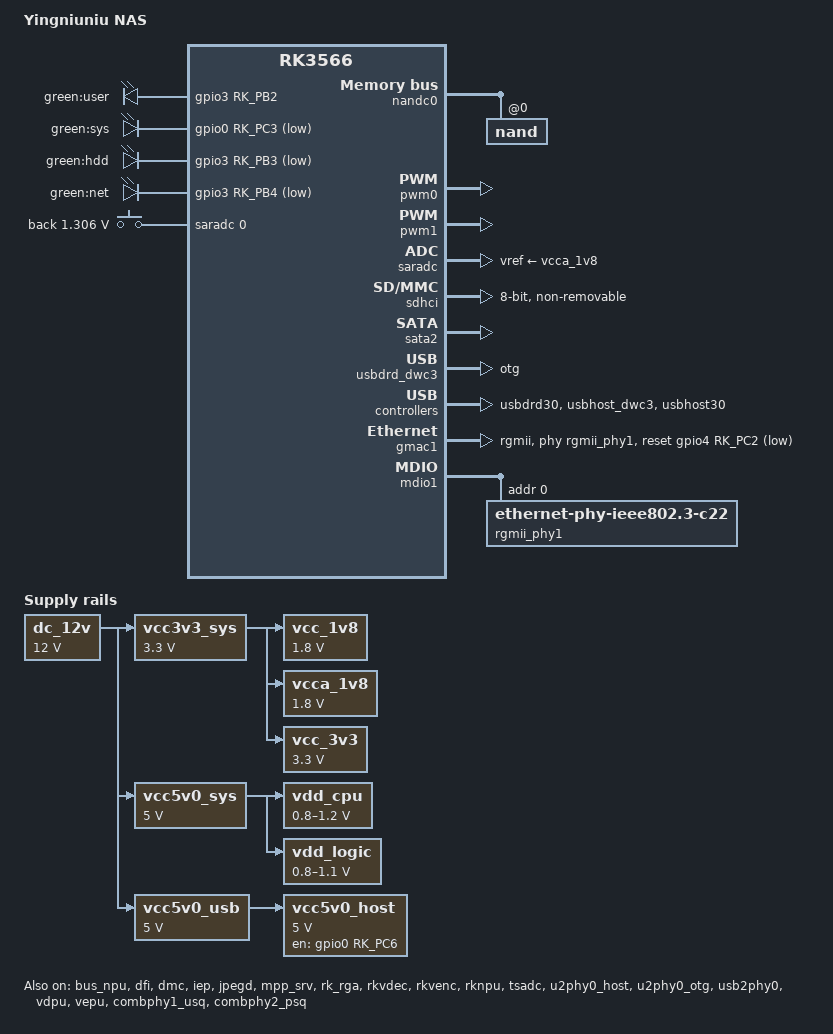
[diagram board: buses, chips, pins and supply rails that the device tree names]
/dts-v1/;

#include <dt-bindings/gpio/gpio.h>
#include <dt-bindings/pinctrl/rockchip.h>
#include <dt-bindings/pwm/pwm.h>
#include <dt-bindings/input/rk-input.h>
#include <dt-bindings/sensor-dev.h>
#include "rk3566.dtsi"

/ {
    model = "Yingniuniu NAS";
    compatible = "ynn,nas", "rockchip,rk3566";

    aliases {
        led-boot = &sys_led;
        led-failsafe = &sys_led;
        led-running = &sys_led;
        led-upgrade = &sys_led;
    };

    chosen: chosen {
        bootargs = "earlycon=uart8250,mmio32,0xfe660000 console=ttyFIQ0 root=PARTUUID=614e0000-0000 rw rootwait";
    };

    fiq-debugger {
        compatible = "rockchip,fiq-debugger";
        rockchip,serial-id = <2>;
        rockchip,wake-irq = <0>;
        /* If enable uart uses irq instead of fiq */
        rockchip,irq-mode-enable = <1>;
        rockchip,baudrate = <1500000>;  /* Only 115200 and 1500000 */
        interrupts = <GIC_SPI 252 IRQ_TYPE_LEVEL_LOW>;
        pinctrl-names = "default";
        pinctrl-0 = <&uart2m0_xfer>;
        status = "okay";
    };

    debug: debug@fd904000 {
        compatible = "rockchip,debug";
        reg = <0x0 0xfd904000 0x0 0x1000>,
            <0x0 0xfd905000 0x0 0x1000>,
            <0x0 0xfd906000 0x0 0x1000>,
            <0x0 0xfd907000 0x0 0x1000>;
    };

    cspmu: cspmu@fd90c000 {
        compatible = "rockchip,cspmu";
        reg = <0x0 0xfd90c000 0x0 0x1000>,
            <0x0 0xfd90d000 0x0 0x1000>,
            <0x0 0xfd90e000 0x0 0x1000>,
            <0x0 0xfd90f000 0x0 0x1000>;
    };

    dc_12v: dc-12v {
        compatible = "regulator-fixed";
        regulator-name = "dc_12v";
        regulator-always-on;
        regulator-boot-on;
        regulator-min-microvolt = <12000000>;
        regulator-max-microvolt = <12000000>;
    };

    vcc3v3_sys: vcc3v3-sys {
        compatible = "regulator-fixed";
        regulator-name = "vcc3v3_sys";
        regulator-always-on;
        regulator-boot-on;
        regulator-min-microvolt = <3300000>;
        regulator-max-microvolt = <3300000>;
        vin-supply = <&dc_12v>;
    };

    vcc5v0_sys: vcc5v0-sys {
        compatible = "regulator-fixed";
        regulator-name = "vcc5v0_sys";
        regulator-always-on;
        regulator-boot-on;
        regulator-min-microvolt = <5000000>;
        regulator-max-microvolt = <5000000>;
        vin-supply = <&dc_12v>;
    };

    vdd_cpu: vdd-cpu {
        compatible = "pwm-regulator";
        pwms = <&pwm0 0 5000 1>;
        regulator-name = "vdd_cpu";
        regulator-min-microvolt = <800000>;
        regulator-max-microvolt = <1200000>;
        regulator-init-microvolt =  <950000>;
        regulator-always-on;
        regulator-boot-on;
        regulator-ramp-delay = <6001>;
        regulator-settling-time-up-us = <250>;
        pwm-supply = <&vcc5v0_sys>;
        status = "okay";
    };

    vdd_logic: vdd-logic {
        compatible = "pwm-regulator";
        pwms = <&pwm1 0 5000 1>;
        regulator-name = "vdd_logic";
        regulator-min-microvolt = <800000>;
        regulator-max-microvolt = <1100000>;
        regulator-init-microvolt = <950000>;
        regulator-always-on;
        regulator-boot-on;
        regulator-ramp-delay = <6001>;
        regulator-settling-time-up-us = <250>;
        pwm-supply = <&vcc5v0_sys>;
        status = "okay";
    };

    vcc_1v8: vcc-1v8 {
        compatible = "regulator-fixed";
        regulator-name = "vcc_1v8";
        regulator-always-on;
        regulator-boot-on;
        regulator-min-microvolt = <1800000>;
        regulator-max-microvolt = <1800000>;
        vin-supply = <&vcc3v3_sys>;
    };

    vcca_1v8: vcca-1v8 {
        compatible = "regulator-fixed";
        regulator-name = "vcca_1v8";
        regulator-always-on;
        regulator-boot-on;
        regulator-min-microvolt = <1800000>;
        regulator-max-microvolt = <1800000>;
        vin-supply = <&vcc3v3_sys>;
    };

    vcc_3v3: vcc-3v3 {
        compatible = "regulator-fixed";
        regulator-name = "vcc_3v3";
        regulator-always-on;
        regulator-boot-on;
        regulator-min-microvolt = <3300000>;
        regulator-max-microvolt = <3300000>;
        vin-supply = <&vcc3v3_sys>;
    };

    vcc5v0_usb: vcc5v0-usb {
        compatible = "regulator-fixed";
        regulator-name = "vcc5v0_usb";
        regulator-always-on;
        regulator-boot-on;
        regulator-min-microvolt = <5000000>;
        regulator-max-microvolt = <5000000>;
        vin-supply = <&dc_12v>;
    };

    vcc5v0_host: vcc5v0-host-regulator {
        compatible = "regulator-fixed";
        enable-active-high;
        gpio = <&gpio0 RK_PC6 GPIO_ACTIVE_HIGH>;
        pinctrl-names = "default";
        pinctrl-0 = <&vcc5v0_host_en>;
        regulator-name = "vcc5v0_host";
        regulator-always-on;
        regulator-min-microvolt = <5000000>;
        regulator-max-microvolt = <5000000>;
        vin-supply = <&vcc5v0_usb>;
    };

    gpio-leds {
        compatible = "gpio-leds";
		pinctrl-names = "default";
		pinctrl-0 =
			<&led_user_pin>,
			<&led_sys_pin>,
			<&led_hdd_pin>,
            <&led_net_pin>;
        user_led: led-0 {
            label = "green:user";
            gpios = <&gpio3 RK_PB2 GPIO_ACTIVE_HIGH>;
            default-state = "off";
        };
        sys_led: led-1 {
            label = "green:sys";
            gpios = <&gpio0 RK_PC3 GPIO_ACTIVE_LOW>;
            linux,default-trigger = "heartbeat";
        };
        hdd_led: led-2 {
            label = "green:hdd";
            gpios = <&gpio3 RK_PB3 GPIO_ACTIVE_LOW>;
            default-state = "off";
        };
        net_led: led-3 {
            label = "green:net";
            gpios = <&gpio3 RK_PB4 GPIO_ACTIVE_LOW>;
            default-state = "off";
        };		
    };
/*
    pwm-leds {
        compatible = "pwm-leds";
        work_led: led-0 {
            label = "sys:green";
            pwms = <&pwm4 0 50000>;
            max-brightness = <255>;
            default-state = "on";
        };
    };
*/
    adc_keys: adc-keys {
        compatible = "adc-keys";
        io-channels = <&saradc 0>;
        io-channel-names = "buttons";
        keyup-threshold-microvolt = <1800000>;
        poll-interval = <100>;

        back-key {
            label = "back";
            linux,code = <KEY_BACK>;
            press-threshold-microvolt = <1305500>;
        };
    };
};

// ynnnas-lp4x.dts
&reserved_memory {
    ramoops: ramoops@110000 {
        compatible = "ramoops";
        reg = <0x0 0x110000 0x0 0xf0000>;
        record-size = <0x20000>;
        console-size = <0x80000>;
        ftrace-size = <0x00000>;
        pmsg-size = <0x50000>;
    };
};

&rockchip_suspend {
    status = "okay";
};

// ynnnas.dtsi
&bus_npu {
    bus-supply = <&vdd_logic>;
    pvtm-supply = <&vdd_cpu>;
    status = "okay";
};

&cpu0 {
    cpu-supply = <&vdd_cpu>;
};

&dfi {
    status = "okay";
};

&dmc {
    center-supply = <&vdd_logic>;
    status = "okay";
};

&iep {
    status = "okay";
};

&iep_mmu {
    status = "okay";
};

&jpegd {
    status = "okay";
};

&jpegd_mmu {
    status = "okay";
};

&mpp_srv {
    status = "okay";
};

&nandc0 {
    #address-cells = <1>;
    #size-cells = <0>;
    status = "okay";

    nand@0 {
        reg = <0>;
        nand-bus-width = <8>;
        nand-ecc-mode = "hw";
        nand-ecc-strength = <16>;
        nand-ecc-step-size = <1024>;
    };
};

/*
* There are 10 independent IO domains in RK3566/RK3568, including PMUIO[0:2] and VCCIO[1:7].
* 1/ PMUIO0 and PMUIO1 are fixed-level power domains which cannot be configured;
* 2/ PMUIO2 and VCCIO1,VCCIO[3:7] domains require that their hardware power supply voltages
*    must be consistent with the software configuration correspondingly
*	a/ When the hardware IO level is connected to 1.8V, the software voltage configuration
*	   should also be configured to 1.8V accordingly;
*	b/ When the hardware IO level is connected to 3.3V, the software voltage configuration
*	   should also be configured to 3.3V accordingly;
* 3/ VCCIO2 voltage control selection (0xFDC20140)
*	BIT[0]: 0x0: from GPIO_0A7 (default)
*	BIT[0]: 0x1: from GRF
*    Default is determined by Pin FLASH_VOL_SEL/GPIO0_A7:
*	L:VCCIO2 must supply 3.3V
*	H:VCCIO2 must supply 1.8V
*/
&pmu_io_domains {
    status = "okay";
    pmuio1-supply = <&vcc_3v3>;
    pmuio2-supply = <&vcc_3v3>;
    vccio1-supply = <&vcc_1v8>;
    vccio3-supply = <&vcc_3v3>;
    vccio4-supply = <&vcc_1v8>;
    vccio5-supply = <&vcc_3v3>;
    vccio6-supply = <&vcc_1v8>;
    vccio7-supply = <&vcc_3v3>;
};

&pwm0 {
    status = "okay";
};

&pwm1 {
    status = "okay";
};

/*
&pwm4 {
    status = "okay";
};
*/

&rk_rga {
    status = "okay";
};

&rkvdec {
    status = "okay";
};

&rkvdec_mmu {
    status = "okay";
};

&rkvenc {
    venc-supply = <&vdd_logic>;
    status = "okay";
};

&rkvenc_mmu {
    status = "okay";
};

&rknpu {
    rknpu-supply = <&vdd_logic>;
    status = "okay";
};

&rknpu_mmu {
    status = "okay";
};

&saradc {
    status = "okay";
    vref-supply = <&vcca_1v8>;
};

&sdhci {
    bus-width = <8>;
    supports-emmc;
    non-removable;
    max-frequency = <200000000>;
    status = "okay";
};

&tsadc {
    status = "okay";
};

&sata2 {
    status = "okay";
};

&u2phy0_host {
    phy-supply = <&vcc5v0_host>;
    status = "okay";
};

&u2phy0_otg {
    vbus-supply = <&vcc5v0_sys>;
    status = "okay";
};

&usb2phy0 {
    status = "okay";
};

&usbdrd_dwc3 {
    dr_mode = "otg";
    extcon = <&usb2phy0>;
    status = "okay";
};

&usbdrd30 {
    status = "okay";
};

&usbhost_dwc3 {
    status = "okay";
};

&usbhost30 {
    status = "okay";
};

&vdpu {
    status = "okay";
};

&vdpu_mmu {
    status = "okay";
};

&vepu {
    status = "okay";
};

&vepu_mmu {
    status = "okay";
};

// ynnnas-lp4x.dtsi
&combphy1_usq {
    assigned-clocks = <&pmucru CLK_PCIEPHY1_REF>;
    assigned-clock-rates = <100000000>;
    status = "okay";
};

&combphy2_psq {
    pinctrl-names = "default";
    pinctrl-0 = <&sata_pm_reset>;
    status = "okay";
};

&gmac1 {
    phy-mode = "rgmii";
    clock_in_out = "input";

    snps,reset-gpio = <&gpio4 RK_PC2 GPIO_ACTIVE_LOW>;
    snps,reset-active-low;
    /* Reset time is 20ms, 100ms for rtl8211f */
    snps,reset-delays-us = <0 20000 100000>;

    assigned-clocks = <&cru SCLK_GMAC1_RX_TX>, <&cru SCLK_GMAC1>;
    assigned-clock-parents =  <&cru SCLK_GMAC1_RGMII_SPEED>, <&gmac1_clkin>;
    //assigned-clock-rates = <0>, <125000000>;

    pinctrl-names = "default";
    pinctrl-0 = <&gmac1m1_miim
            &gmac1m1_tx_bus2
            &gmac1m1_rx_bus2
            &gmac1m1_rgmii_clk
            &gmac1m1_rgmii_bus
            &gmac1m1_clkinout>;

    tx_delay = <0x4f>;
    rx_delay = <0x2d>;

    phy-handle = <&rgmii_phy1>;
    status = "okay";
};

&mdio1 {
    rgmii_phy1: phy@0 {
        compatible = "ethernet-phy-ieee802.3-c22";
        reg = <0x0>;
    };
};

&pinctrl {
    pmic {
        pmic_int: pmic_int {
            rockchip,pins =
                <0 RK_PA3 RK_FUNC_GPIO &pcfg_pull_up>;
        };

        soc_slppin_gpio: soc_slppin_gpio {
            rockchip,pins =
                <0 RK_PA2 RK_FUNC_GPIO &pcfg_output_low_pull_down>;
        };

        soc_slppin_slp: soc_slppin_slp {
            rockchip,pins =
                <0 RK_PA2 1 &pcfg_pull_up>;
        };

        soc_slppin_rst: soc_slppin_rst {
            rockchip,pins =
                <0 RK_PA2 2 &pcfg_pull_none>;
        };
    };

    usb {
        vcc5v0_host_en: vcc5v0-host-en {
            rockchip,pins = <0 RK_PC6 RK_FUNC_GPIO &pcfg_pull_none>;
        };
    };

    stata {
        sata_pm_reset: sata-pm-reset {
            rockchip,pins = <0 RK_PA6 RK_FUNC_GPIO &pcfg_output_high>;
        };
    };

    gpio-leds {
        led_user_pin: led-user-pin {
            rockchip,pins =
                <3 RK_PB2 RK_FUNC_GPIO &pcfg_pull_none>;
        };
        led_sys_pin: led-sys-pin {
            rockchip,pins =
                <0 RK_PC3 RK_FUNC_GPIO &pcfg_pull_none>;
        };
        led_hdd_pin: led-hdd-pin {
            rockchip,pins =
                <3 RK_PB3 RK_FUNC_GPIO &pcfg_pull_none>;
        };
        led_net_pin: led-net-pin {
            rockchip,pins =
                <3 RK_PB4 RK_FUNC_GPIO &pcfg_pull_none>;
        };
    };

};
